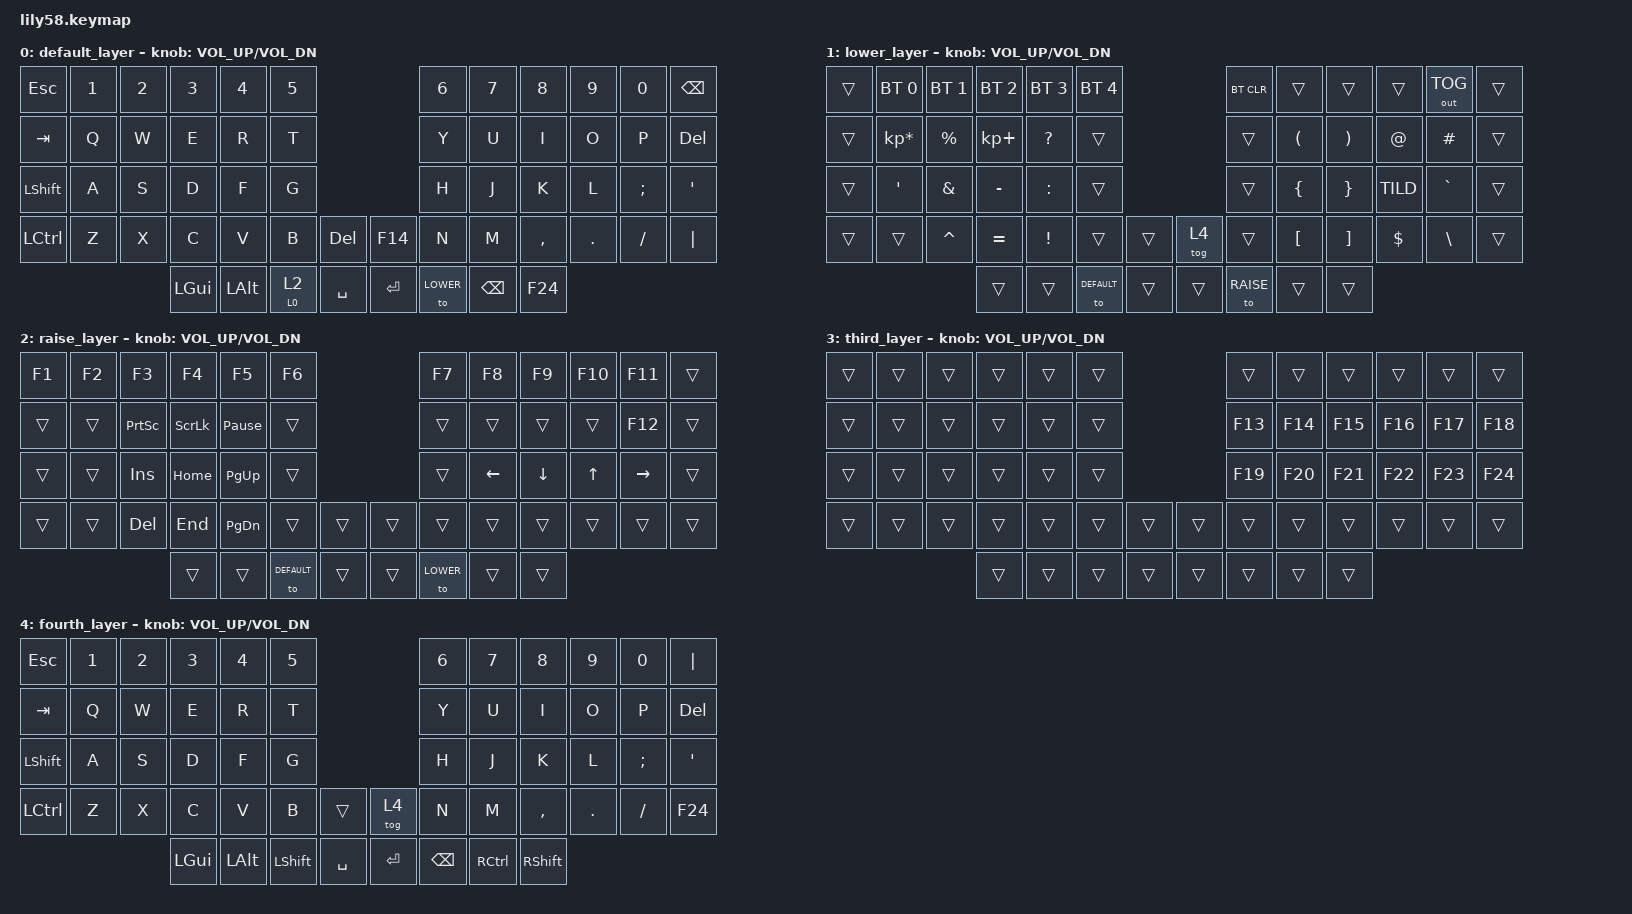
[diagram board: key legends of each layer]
/*
 * Copyright (c) 2020 The ZMK Contributors
 *
 * SPDX-License-Identifier: MIT
 */

#include <behaviors.dtsi>
#include <dt-bindings/zmk/keys.h>
#include <dt-bindings/zmk/bt.h>
#include <dt-bindings/zmk/ext_power.h>
#include <dt-bindings/zmk/outputs.h>
#define DEFAULT 0
#define LOWER   1
#define RAISE   2
#define THIRD 	3
#define FOURTH 	4

/ {

	behaviors {
        to_mo: behavior_mo_to {
            compatible = "zmk,behavior-hold-tap";
            label = "mo_to";
            #binding-cells = <2>;
            flavor = "hold-preferred";
            tapping-term-ms = <200>;
            bindings = <&to>, <&mo>;
        };
    };

	keymap {
		compatible = "zmk,keymap";
    

		default_layer {
// ------------------------------------------------------------------------------------------------------------
// |  ESC  |  1  |  2  |  3   |  4   |  5   |                   |  6   |  7    |  8    |  9   |   0   |  BSPC |
// |  TAB  |  Q  |  W  |  E   |  R   |  T   |                   |  Y   |  U    |  I    |  O   |   P   |  DEL  |
// | SHIFT |  A  |  S  |  D   |  F   |  G   |                   |  H   |  J    |  K    |  L   |   ;   |   '   |
// |  CTRL |  Z  |  X  |  C   |  V   |  B   |  DEL   |  |  F14  |  N   |  M    |  ,    |  .   |   /   |  "|"  |
//                     | GUI  |  ALT | DEF  | SPACE  |  |  RET  | LOWER| BSPC  |  F24  |
			bindings = <
&kp ESC   &kp N1 &kp N2 &kp N3   &kp N4   &kp N5                     						  &kp N6 			&kp N7   	&kp N8    &kp N9  &kp N0   &kp BSPC
&kp TAB   &kp Q  &kp W  &kp E    &kp R    &kp T                      							&kp Y  			&kp U    	&kp I     &kp O   &kp P    &kp DEL
&kp LSHFT &kp A  &kp S  &kp D    &kp F    &kp G                      							&kp H 			&kp J    	&kp K     &kp L   &kp SEMI &kp SQT
&kp LCTRL &kp Z  &kp X  &kp C    &kp V    &kp B  				&kp DEL   	&kp F14 			&kp N  			&kp M    	&kp COMMA &kp DOT &kp FSLH &kp PIPE
                        &kp LGUI &kp LALT &to_mo 0 2  &kp SPACE  	&kp RET  			&to LOWER   &kp BSPC &kp F24
			>;

			sensor-bindings = <&inc_dec_kp C_VOL_UP C_VOL_DN>;
		};

		lower_layer {
// ------------------------------------------------------------------------------------------------------------
// |       | BT0 | BT1 |  BT2 |  BT3 |  BT4 |                   |BT_CLR|       |       |       |OUT_TOG|       |
// |       |  *  |  %  |   +  |   ?  |      |                   |      |  (    |  )    |  @    |  #    |       |
// |       |  '  |  &  |   -  |   :  |      |                   |      |  {    |  }    |  ~    |  `    |       |
// |       |     |  ^  |   =  |   !  |      |        |  | tog 4 |      |  [    |  ]    |  $    |  \    |       |
//                     |      |      | DEF  |        |  |       | RAISE|       |       |
			bindings = <
&trans 		&bt BT_SEL 0   	&bt BT_SEL 1  &bt BT_SEL 2    &bt BT_SEL 3    &bt BT_SEL 4    								&bt BT_CLR  &trans    &trans      &trans    &out OUT_TOG  &trans 
&trans    &kp KP_MULTIPLY &kp PRCNT   	&kp KP_PLUS     &kp QMARK	      &trans          						  	&trans  	  &kp LPAR  &kp RPAR   	&kp AT    &kp HASH  		&trans
&trans    &kp SQT					&kp AMPS    	&kp MINUS       &kp COLON       &trans         									&trans 	    &kp LBRC  &kp RBRC   	&kp TILD  &kp GRAVE 		&trans
&trans    &trans 				 	&kp CARET  		&kp EQUAL       &kp EXCL        &trans     		&trans   &tog 4   &trans      &kp LBKT 	&kp RBKT		&kp DLLR 	&kp BSLH  		&trans
                                        &trans          &trans          &to DEFAULT   &trans   &trans   &to RAISE  	&trans    &trans
			>;
 
			sensor-bindings = <&inc_dec_kp C_VOL_UP C_VOL_DN>;
		};

		raise_layer {
// ------------------------------------------------------------------------------------------------------------
// |  F1  |  F2   |  F3   |  F4  |  F5   |  F6   |                   |  F7  |  F8   |  F9   |  F10 | F11   |  F12  |
// |      |     	| PSCRN | SLCK | PAUSE |       |                   |      |       |       |      | F12   |       |
// |      |    	 	|  INS  | HOME | PG_UP |       |                   |      |   <-  |   v   |  ^   |  ->   |       |
// |      |     	|  DEL  | END  |PG_DN  |       |        |  |       |      |       |       |      |       |       |
//                     		|       |      |DEF    |        |  |       | LOWER|       |       |
			bindings = <
&kp F1    &kp F2    	&kp F3    &kp F4    &kp F5      			&kp F6                      		&kp F7      &kp F8    &kp F9    &kp F10   &kp F11     &trans
&trans 	  &trans &kp 	PSCRN 		&kp SLCK  &kp PAUSE_BREAK   &trans                      		&trans      &trans    &trans    &trans    &kp F12     &trans
&trans    &trans &kp INS   			&kp HOME  &kp PG_UP  				&trans                       		&trans      &kp LEFT  &kp DOWN  &kp UP    &kp RIGHT   &trans
&trans    &trans &kp DEL   			&kp END   &kp PG_DN 				&trans   			&trans  &trans    &trans      &trans    &trans    &trans    &trans      &trans
                           &trans    &trans  						&to DEFAULT  			&trans  &trans    &to LOWER  	&trans    &trans
			>;

			sensor-bindings = <&inc_dec_kp C_VOL_UP C_VOL_DN>;
		};

		third_layer {
// ------------------------------------------------------------------------------------------------------------
// |       |     |     |      |      |      |                   |      |       |       |      |       |       |
// |       |     |     |      |      |      |                   | F13  |  F14  | F15   |  F16 |  F17  |  F18  |
// |       |     |     |      |      |      |                   | F19  |  F20  | F21   |  F22 |  F23  |  F24  |
// |       |     |     |      |      |      |        |  |       |      |       |       |      |       |       |
//                     |      |      |      |        |  |       |      |       |       |
			bindings = <
&trans    &trans &trans &trans  &trans  &trans                       &trans      &trans    &trans    &trans   &trans    &trans
&trans    &trans &trans &trans  &trans  &trans                       &kp F13     &kp F14   &kp F15   &kp F16  &kp F17   &kp F18
&trans    &trans &trans &trans  &trans  &trans                       &kp F19     &kp F20   &kp F21   &kp F22  &kp F23   &kp F24
&trans    &trans &trans &trans  &trans  &trans    &trans   &trans    &trans      &trans    &trans    &trans   &trans    &trans
                        &trans  &trans  &trans    &trans   &trans    &trans      &trans    &trans
			>;

			sensor-bindings = <&inc_dec_kp C_VOL_UP C_VOL_DN>;
		};

		fourth_layer {
// ------------------------------------------------------------------------------------------------------------
// |  ESC  |  1  |  2  |  3   |  4   |  5   |                   |  6   |  7    |  8    |  9   |   0   |  "|"  |
// |  TAB  |  Q  |  W  |  E   |  R   |  T   |                   |  Y   |  U    |  I    |  O   |   P   |  DEL  |
// | SHIFT |  A  |  S  |  D   |  F   |  G   |                   |  H   |  J    |  K    |  L   |   ;   |   '   |
// |  CTRL |  Z  |  X  |  C   |  V   |  B   |        |  | tog 4 |  N   |  M    |  ,    |  .   |   /   |  F24  |
//                     | GUI  |  ALT | LSHFT| SPACE  |  | RET   | BSPC | CTRL | RSHFT |
			bindings = <
&kp ESC   &kp N1 &kp N2 &kp N3   &kp N4   &kp N5                     					&kp N6 		&kp N7   	&kp N8    &kp N9  &kp N0   &kp PIPE
&kp TAB   &kp Q  &kp W  &kp E    &kp R    &kp T                      					&kp Y  		&kp U    	&kp I     &kp O   &kp P    &kp DEL
&kp LSHFT &kp A  &kp S  &kp D    &kp F    &kp G                      					&kp H 		&kp J    	&kp K     &kp L   &kp SEMI &kp SQT
&kp LCTRL &kp Z  &kp X  &kp C    &kp V    &kp B  			&trans     		&tog 4   	&kp N  		&kp M    	&kp COMMA &kp DOT &kp FSLH &kp F24
                        &kp LGUI &kp LALT &kp LSHFT  	&kp SPACE  		&kp RET  	&kp BSPC  &kp RCTRL &kp RSHFT
			>;

			sensor-bindings = <&inc_dec_kp C_VOL_UP C_VOL_DN>;
		};
	};
};

